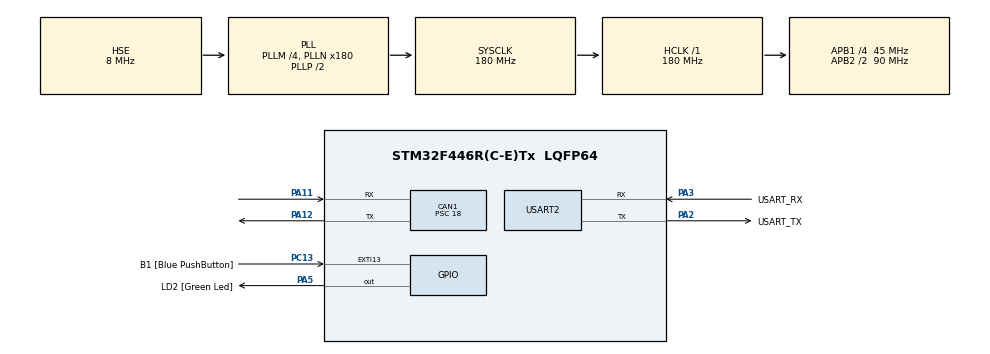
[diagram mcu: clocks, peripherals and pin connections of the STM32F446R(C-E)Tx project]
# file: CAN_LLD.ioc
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CAN1.BS1=CAN_BS1_2TQ
CAN1.BS2=CAN_BS2_2TQ
CAN1.CalculateBaudRate=500000
CAN1.CalculateTimeBit=2000
CAN1.CalculateTimeQuantum=400.0
CAN1.Prescaler=18
Mcu.Family=STM32F4
Mcu.Name=STM32F446R(C-E)Tx
Mcu.Package=LQFP64
NVIC.CAN1_RX0_IRQn=true\:0\:0\:false\:false\:true\:true\:true\:true
NVIC.CAN1_SCE_IRQn=true\:0\:0\:false\:false\:true\:true\:true\:true
NVIC.PriorityGroup=NVIC_PRIORITYGROUP_0
NVIC.USART2_IRQn=true\:0\:0\:false\:false\:true\:true\:true\:true
PA11.Mode=CAN_Activate
PA11.Signal=CAN1_RX
PA12.Mode=CAN_Activate
PA12.Signal=CAN1_TX
PA13.GPIO_Label=TMS
PA13.Mode=Serial_Wire
PA13.Signal=SYS_JTMS-SWDIO
PA14.GPIO_Label=TCK
PA14.Mode=Serial_Wire
PA14.Signal=SYS_JTCK-SWCLK
PA2.GPIO_Label=USART_TX
PA2.Mode=Asynchronous
PA2.Signal=USART2_TX
PA3.GPIO_Label=USART_RX
PA3.Mode=Asynchronous
PA3.Signal=USART2_RX
PA5.GPIO_Label=LD2 [Green Led]
PA5.Signal=GPIO_Output
PB3.GPIO_Label=SWO
PB3.Signal=SYS_JTDO-SWO
PC13.GPIO_Label=B1 [Blue PushButton]
PC13.GPIO_ModeDefaultEXTI=GPIO_MODE_IT_FALLING
PC13.Signal=GPXTI13
PC14-OSC32_IN.Mode=LSE-External-Oscillator
PC14-OSC32_IN.Signal=RCC_OSC32_IN
PC15-OSC32_OUT.Mode=LSE-External-Oscillator
PC15-OSC32_OUT.Signal=RCC_OSC32_OUT
PH0-OSC_IN.Mode=HSE-External-Oscillator
PH0-OSC_IN.Signal=RCC_OSC_IN
PH1-OSC_OUT.Mode=HSE-External-Oscillator
PH1-OSC_OUT.Signal=RCC_OSC_OUT
ProjectManager.HeapSize=0x200
ProjectManager.StackSize=0x400
ProjectManager.TargetToolchain=STM32CubeIDE
RCC.48MHZClocksFreq_Value=84000000
RCC.AHBFreq_Value=180000000
RCC.APB1CLKDivider=RCC_HCLK_DIV4
RCC.APB1Freq_Value=45000000
RCC.APB1TimFreq_Value=90000000
RCC.APB2CLKDivider=RCC_HCLK_DIV2
RCC.APB2Freq_Value=90000000
RCC.APB2TimFreq_Value=180000000
RCC.CortexFreq_Value=180000000
RCC.FLatency-AdvancedSettings=FLASH_LATENCY_5
RCC.HCLKFreq_Value=180000000
RCC.HSE_VALUE=8000000
RCC.HSI_VALUE=16000000
RCC.PLLM=4
RCC.PLLN=180
RCC.PLLSourceVirtual=RCC_PLLSOURCE_HSE
RCC.SYSCLKFreq_VALUE=180000000
RCC.SYSCLKSource=RCC_SYSCLKSOURCE_PLLCLK
RCC.USBFreq_Value=180000000
RCC.VCOOutputFreq_Value=360000000
USART2.VirtualMode=VM_ASYNC
board=NUCLEO-F446RE

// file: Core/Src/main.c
/* USER CODE BEGIN Header */
/**
  ******************************************************************************
  * @file           : main.c
  * @brief          : Main program body
  ******************************************************************************
  * @attention
  *
  * Copyright (c) 2026 STMicroelectronics.
  * All rights reserved.
  *
  * This software is licensed under terms that can be found in the LICENSE file
  * in the root directory of this software component.
  * If no LICENSE file comes with this software, it is provided AS-IS.
  *
  ******************************************************************************
  */
/* USER CODE END Header */
#include "main.h"

CAN_HandleTypeDef hcan1;

UART_HandleTypeDef huart2;

void SystemClock_Config(void);
static void MX_GPIO_Init(void);
static void MX_USART2_UART_Init(void);
static void MX_CAN1_Init(void);

/* USER CODE BEGIN 0 */
void CAN_Send_Test(void);
void CAN_Filter_Config(void);
void CAN_Start(void);
HAL_StatusTypeDef CAN_Send(uint32_t id, uint8_t *data, uint8_t len);
void CAN_CheckErrors(void);
void CAN_Send_TestMessage(void);

uint8_t rxData[8];
CAN_RxHeaderTypeDef rxHeader;
int _write(int file, char *ptr, int len)
{
    HAL_UART_Transmit(&huart2, (uint8_t*)ptr, len, HAL_MAX_DELAY);
    return len;
}

/* USER CODE END 0 */

int main(void)
{

  /* MCU Configuration--------------------------------------------------------*/

  /* Reset of all peripherals, Initializes the Flash interface and the Systick. */
  HAL_Init();

  /* Configure the system clock */
  SystemClock_Config();

  /* Initialize all configured peripherals */
  MX_GPIO_Init();
  MX_USART2_UART_Init();
  MX_CAN1_Init();
  /* USER CODE BEGIN 2 */
  CAN_Filter_Config();
   CAN_Start();

   uint8_t msg[2] = {0x11, 0x22};
   char msg1[] = "CAN Testing\r\n";
  /* USER CODE END 2 */

  /* Infinite loop */
  while (1)
  {
	  CAN_Send_TestMessage();
	  	         //HAL_UART_Transmit(&huart2, (uint8_t*)msg1, strlen(msg), 1000);
	      	         HAL_Delay(100);
  }
}

void SystemClock_Config(void)
{
  RCC_OscInitTypeDef RCC_OscInitStruct = {0};
  RCC_ClkInitTypeDef RCC_ClkInitStruct = {0};

  /** Configure the main internal regulator output voltage
  */
  __HAL_RCC_PWR_CLK_ENABLE();
  __HAL_PWR_VOLTAGESCALING_CONFIG(PWR_REGULATOR_VOLTAGE_SCALE1);

  /** Initializes the RCC Oscillators according to the specified parameters
  * in the RCC_OscInitTypeDef structure.
  */
  RCC_OscInitStruct.OscillatorType = RCC_OSCILLATORTYPE_HSE;
  RCC_OscInitStruct.HSEState = RCC_HSE_ON;
  RCC_OscInitStruct.PLL.PLLState = RCC_PLL_ON;
  RCC_OscInitStruct.PLL.PLLSource = RCC_PLLSOURCE_HSE;
  RCC_OscInitStruct.PLL.PLLM = 4;
  RCC_OscInitStruct.PLL.PLLN = 180;
  RCC_OscInitStruct.PLL.PLLP = RCC_PLLP_DIV2;
  RCC_OscInitStruct.PLL.PLLQ = 2;
  RCC_OscInitStruct.PLL.PLLR = 2;
  if (HAL_RCC_OscConfig(&RCC_OscInitStruct) != HAL_OK)
  {
    Error_Handler();
  }

  /** Activate the Over-Drive mode
  */
  if (HAL_PWREx_EnableOverDrive() != HAL_OK)
  {
    Error_Handler();
  }

  /** Initializes the CPU, AHB and APB buses clocks
  */
  RCC_ClkInitStruct.ClockType = RCC_CLOCKTYPE_HCLK|RCC_CLOCKTYPE_SYSCLK
                              |RCC_CLOCKTYPE_PCLK1|RCC_CLOCKTYPE_PCLK2;
  RCC_ClkInitStruct.SYSCLKSource = RCC_SYSCLKSOURCE_PLLCLK;
  RCC_ClkInitStruct.AHBCLKDivider = RCC_SYSCLK_DIV1;
  RCC_ClkInitStruct.APB1CLKDivider = RCC_HCLK_DIV4;
  RCC_ClkInitStruct.APB2CLKDivider = RCC_HCLK_DIV2;

  if (HAL_RCC_ClockConfig(&RCC_ClkInitStruct, FLASH_LATENCY_5) != HAL_OK)
  {
    Error_Handler();
  }
}

static void MX_CAN1_Init(void)
{

  hcan1.Instance = CAN1;
  hcan1.Init.Prescaler = 18;
  hcan1.Init.Mode = CAN_MODE_NORMAL;
  hcan1.Init.SyncJumpWidth = CAN_SJW_1TQ;
  hcan1.Init.TimeSeg1 = CAN_BS1_2TQ;
  hcan1.Init.TimeSeg2 = CAN_BS2_2TQ;
  hcan1.Init.TimeTriggeredMode = DISABLE;
  hcan1.Init.AutoBusOff = DISABLE;
  hcan1.Init.AutoWakeUp = DISABLE;
  hcan1.Init.AutoRetransmission = DISABLE;
  hcan1.Init.ReceiveFifoLocked = DISABLE;
  hcan1.Init.TransmitFifoPriority = DISABLE;
  if (HAL_CAN_Init(&hcan1) != HAL_OK)
  {
    Error_Handler();
  }

}

static void MX_USART2_UART_Init(void)
{

  huart2.Instance = USART2;
  huart2.Init.BaudRate = 115200;
  huart2.Init.WordLength = UART_WORDLENGTH_8B;
  huart2.Init.StopBits = UART_STOPBITS_1;
  huart2.Init.Parity = UART_PARITY_NONE;
  huart2.Init.Mode = UART_MODE_TX_RX;
  huart2.Init.HwFlowCtl = UART_HWCONTROL_NONE;
  huart2.Init.OverSampling = UART_OVERSAMPLING_16;
  if (HAL_UART_Init(&huart2) != HAL_OK)
  {
    Error_Handler();
  }

}

static void MX_GPIO_Init(void)
{
  GPIO_InitTypeDef GPIO_InitStruct = {0};

  /* GPIO Ports Clock Enable */
  __HAL_RCC_GPIOC_CLK_ENABLE();
  __HAL_RCC_GPIOH_CLK_ENABLE();
  __HAL_RCC_GPIOA_CLK_ENABLE();
  __HAL_RCC_GPIOB_CLK_ENABLE();

  /*Configure GPIO pin Output Level */
  HAL_GPIO_WritePin(LD2_GPIO_Port, LD2_Pin, GPIO_PIN_RESET);

  /*Configure GPIO pin : B1_Pin */
  GPIO_InitStruct.Pin = B1_Pin;
  GPIO_InitStruct.Mode = GPIO_MODE_IT_FALLING;
  GPIO_InitStruct.Pull = GPIO_NOPULL;
  HAL_GPIO_Init(B1_GPIO_Port, &GPIO_InitStruct);

  /*Configure GPIO pin : LD2_Pin */
  GPIO_InitStruct.Pin = LD2_Pin;
  GPIO_InitStruct.Mode = GPIO_MODE_OUTPUT_PP;
  GPIO_InitStruct.Pull = GPIO_NOPULL;
  GPIO_InitStruct.Speed = GPIO_SPEED_FREQ_LOW;
  HAL_GPIO_Init(LD2_GPIO_Port, &GPIO_InitStruct);

}

/* USER CODE BEGIN 4 */
void CAN_Send_Test(void)
{
    CAN_TxHeaderTypeDef txHeader;
    uint8_t data[8] = {0x11, 0x22,0x55,0xAA,0x11, 0x22,0x55,0xAA};
    uint32_t txMailbox;

    txHeader.StdId = 0x123;
    txHeader.ExtId = 0;
    txHeader.IDE = CAN_ID_STD;
    txHeader.RTR = CAN_RTR_DATA;
    txHeader.DLC = 2;

    HAL_CAN_AddTxMessage(&hcan1, &txHeader, data, &txMailbox);
}

void CAN_Filter_Config(void)
{
    CAN_FilterTypeDef filter;

    filter.FilterBank = 0;
    filter.FilterMode = CAN_FILTERMODE_IDMASK;
    filter.FilterScale = CAN_FILTERSCALE_32BIT;
    filter.FilterIdHigh = (0x000<<5);
    filter.FilterIdLow  = 0x0000;
    filter.FilterMaskIdHigh = (0x000 << 5);;
    filter.FilterMaskIdLow  = 0x0000;
    filter.FilterFIFOAssignment = CAN_FILTER_FIFO0;
    filter.FilterActivation = ENABLE;

    if (HAL_CAN_ConfigFilter(&hcan1, &filter) != HAL_OK)
    {
        Error_Handler();
    }
}

void CAN_Start(void)
{
    if (HAL_CAN_Start(&hcan1) != HAL_OK)
        Error_Handler();

    if (HAL_CAN_ActivateNotification(&hcan1, CAN_IT_RX_FIFO0_MSG_PENDING) != HAL_OK)
        Error_Handler();
}

HAL_StatusTypeDef CAN_Send(uint32_t id, uint8_t *data, uint8_t len)
{
    CAN_TxHeaderTypeDef txHeader;
    uint32_t mailbox;

    txHeader.StdId = id;
    txHeader.IDE = CAN_ID_STD;
    txHeader.RTR = CAN_RTR_DATA;
    txHeader.DLC = len;

    HAL_StatusTypeDef status = HAL_CAN_AddTxMessage(&hcan1, &txHeader, data, &mailbox);

    if (status != HAL_OK)
    {
        uint32_t err = HAL_CAN_GetError(&hcan1);
        printf("CAN TX Error: 0x%lX\n", err);
    }

    return status;
}
void HAL_CAN_RxFifo0MsgPendingCallback(CAN_HandleTypeDef *hcan)
{
	 if (HAL_CAN_GetRxMessage(hcan, CAN_RX_FIFO0, &rxHeader, rxData) != HAL_OK)
	    {
	        uint32_t err = HAL_CAN_GetError(hcan);
	        printf("CAN RX Error: 0x%lX\n", err);
	        return;
	    }

	 HAL_GPIO_TogglePin(LD2_GPIO_Port, LD2_Pin);
	    printf("RX ID: 0x%03X DLC:%d Data: ", rxHeader.StdId, rxHeader.DLC);
	    printf("\r\n");
	    for (int i = 0; i < rxHeader.DLC; i++)
	        printf(" %02X", rxData[i]);
	    printf("\r\n");
}

void CAN_CheckErrors(void)
{
    uint32_t err = HAL_CAN_GetError(&hcan1);

    if (err == HAL_CAN_ERROR_NONE) return;

    if (err & HAL_CAN_ERROR_EWG) printf("Error Warning\r\n");
    if (err & HAL_CAN_ERROR_EPV) printf("Error Passive\r\n");
    if (err & HAL_CAN_ERROR_BOF) printf("Bus Off\r\n");
    if (err & HAL_CAN_ERROR_STF) printf("Stuff Error\r\n");
    if (err & HAL_CAN_ERROR_FOR) printf("Form Error\r\n");
    if (err & HAL_CAN_ERROR_ACK) printf("ACK Error\r\n");
    if (err & HAL_CAN_ERROR_CRC) printf("CRC Error\r\n");
}

void CAN_Send_TestMessage(void)
{
    CAN_TxHeaderTypeDef txHeader;
    uint32_t mailbox;
    uint8_t data[8] = {0x11, 0x22, 0x33, 0x44, 0x55, 0x66, 0x77, 0x88};

    txHeader.StdId = 0x80;
    txHeader.IDE = CAN_ID_STD;
    txHeader.RTR = CAN_RTR_DATA;
    txHeader.DLC = 8;

    if (HAL_CAN_AddTxMessage(&hcan1, &txHeader, data, &mailbox) != HAL_OK)
    {
        uint32_t err = HAL_CAN_GetError(&hcan1);
        printf("TX Error: 0x%lX\r\n", err);
    }
}
/* USER CODE END 4 */

void Error_Handler(void)
{
  __disable_irq();
  while (1)
  {
  }
}
